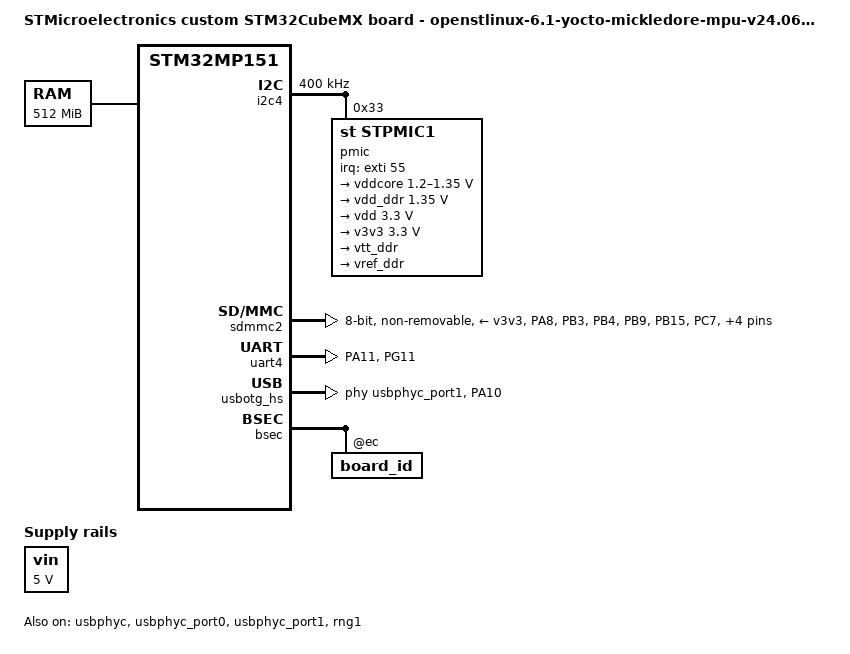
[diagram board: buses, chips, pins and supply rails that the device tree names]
// SPDX-License-Identifier: (GPL-2.0-or-later OR BSD-3-Clause)
/*
 * Copyright (C) 2024, STMicroelectronics - All Rights Reserved
 * Author: STM32CubeMX code generation for STMicroelectronics.
 */

/* For more information on Device Tree configuration, please refer to
 * https://wiki.st.com/stm32mpu/wiki/Category:Device_tree_configuration
 */

/dts-v1/;

#include <dt-bindings/pinctrl/stm32-pinfunc.h>
#include <dt-bindings/clock/stm32mp1-clksrc.h>
#include "stm32mp15-mx.dtsi"

#include "stm32mp151.dtsi"
#include "stm32mp15xa.dtsi"
#include "stm32mp15xxac-pinctrl.dtsi"
#include "stm32mp15-ddr.dtsi"

/* USER CODE BEGIN includes */
#include "stm32mp15-pinctrl.dtsi"
/* USER CODE END includes */

/*TFA*/

/ {
	model = "STMicroelectronics custom STM32CubeMX board - openstlinux-6.1-yocto-mickledore-mpu-v24.06.26";
	compatible = "st,stm32mp151a-ap31085500a-mx", "st,stm32mp151";

	memory@c0000000 {
		device_type = "memory";
		reg = <0xc0000000 0x20000000>;

		/* USER CODE BEGIN memory */
		/* USER CODE END memory */
	};

	reserved-memory {
		#address-cells = <1>;
		#size-cells = <1>;
		ranges;

		/* USER CODE BEGIN reserved-memory */
		mcusram1:mcuram@10000000{
			compatible = "shared-dma-pool";
			reg = <0x10000000 0x20000>;
			no-map;
		};

		mcusram2:mcuram@10020000{
			compatible = "shared-dma-pool";
			reg = <0x10020000 0x20000>;
			no-map;
		};

		mcusram3:mcuram@10040000{
			compatible = "shared-dma-pool";
			reg = <0x10040000 0x10000>;
			no-map;
		};

		retram:retram@38000000{
			compatible = "shared-dma-pool";
			reg = <0x38000000 0x10000>;
			no-map;
		};
		
  	optee_core@de000000 {
  		reg = <0xde000000 0x02000000>;   // 32 MB secure DDR
  		no-map;
  	};
  
  	optee_shm@dfc00000 {
  		reg = <0xdfc00000 0x00400000>;   // 4 MB SHM (o 2 MB)
  		no-map;
  	};
  
      
		/* USER CODE END reserved-memory */
	};
	/* USER CODE BEGIN root */
	
	aliases {
		serial0 = &uart4;
	};

	chosen {
		stdout-path = "serial0:115200n8";
	};
	
	vin: vin {
		compatible = "regulator-fixed";
		regulator-name = "vin";
		regulator-min-microvolt = <5000000>;
		regulator-max-microvolt = <5000000>;
		regulator-always-on;
	};
	/* USER CODE END root */

	clocks {
		/* USER CODE BEGIN clocks */
		/* USER CODE END clocks */

		clk_hsi: clk-hsi {
			clock-frequency = <64000000>;

			/* USER CODE BEGIN clk_hsi */
			/* USER CODE END clk_hsi */
		};
		clk_lse: clk-lse {
			clock-frequency = <32768>;
			st,drive = < LSEDRV_MEDIUM_HIGH >;

			/* USER CODE BEGIN clk_lse */
			/* USER CODE END clk_lse */
		};
		clk_hse: clk-hse {
			clock-frequency = <24000000>;
			st,digbypass;

			/* USER CODE BEGIN clk_hse */
			/* USER CODE END clk_hse */
		};
	};

}; /*root*/

&pinctrl {
	i2c4_pins_mx: i2c4_mx-0 {
		pins {
			pinmux = <STM32_PINMUX('F', 14, AF4)>, /* I2C4_SCL */
					 <STM32_PINMUX('F', 15, AF4)>; /* I2C4_SDA */
			bias-disable;
			drive-open-drain;
			slew-rate = <0>;
		};
	};

	sdmmc2_pins_mx: sdmmc2_mx-0 {
		pins1 {
			pinmux = <STM32_PINMUX('A', 8, AF9)>, /* SDMMC2_D4 */
					 <STM32_PINMUX('B', 3, AF9)>, /* SDMMC2_D2 */
					 <STM32_PINMUX('B', 4, AF9)>, /* SDMMC2_D3 */
					 <STM32_PINMUX('B', 9, AF10)>, /* SDMMC2_D5 */
					 <STM32_PINMUX('B', 15, AF9)>, /* SDMMC2_D1 */
					 <STM32_PINMUX('C', 7, AF10)>, /* SDMMC2_D7 */
					 <STM32_PINMUX('E', 5, AF9)>; /* SDMMC2_D6 */
			bias-disable;
			drive-push-pull;
			slew-rate = <1>;
		};
		pins2 {
			pinmux = <STM32_PINMUX('B', 14, AF9)>, /* SDMMC2_D0 */
					 <STM32_PINMUX('E', 3, AF9)>, /* SDMMC2_CK */
					 <STM32_PINMUX('G', 6, AF10)>; /* SDMMC2_CMD */
			bias-pull-up;
			drive-push-pull;
			slew-rate = <1>;
		};
	};

	uart4_pins_mx: uart4_mx-0 {
		pins1 {
			pinmux = <STM32_PINMUX('A', 11, AF6)>; /* UART4_RX */
			bias-pull-up;
		};
		pins2 {
			pinmux = <STM32_PINMUX('G', 11, AF6)>; /* UART4_TX */
			bias-pull-up;
			drive-push-pull;
			slew-rate = <0>;
		};
	};

	usb_otg_hs_pins_mx: usb_otg_hs_mx-0 {
		pins {
			pinmux = <STM32_PINMUX('A', 10, ANALOG)>; /* USB_OTG_HS_ID */
		};
	};

	/* USER CODE BEGIN pinctrl */
	/* USER CODE END pinctrl */
};


&pinctrl_z {
	/* USER CODE BEGIN pinctrl_z */
	/* USER CODE END pinctrl_z */
};

&i2c4{
	pinctrl-names = "default";
	pinctrl-0 = <&i2c4_pins_a>;
	status = "okay";

	/* USER CODE BEGIN i2c4 */
	i2c-scl-rising-time-ns = <185>;
	i2c-scl-falling-time-ns = <20>;
	clock-frequency = <400000>;

	pmic: stpmic@33 {
	compatible = "st,stpmic1";
	reg = <0x33>;
	/* interrupts-extended = <&exti_pwr 55 IRQ_TYPE_EDGE_FALLING>;*/
	interrupts-extended = <&exti 55 IRQ_TYPE_EDGE_FALLING>;
	interrupt-controller;
	#interrupt-cells = <2>;
	status = "okay";

		regulators {
			compatible = "st,stpmic1-regulators";
			
			buck1-supply = <&vin>;
			buck2-supply = <&vin>;
			buck3-supply = <&vin>;
			buck4-supply = <&vin>;
			ldo2-supply  = <&vin>;
			ldo3-supply  = <&vdd>;         /* VTT_DDR must be fed from BUCK3 */
			ldo4-supply  = <&vin>;
			ldo5-supply  = <&vin>;
			ldo6-supply  = <&v3v3>;
			vref_ddr-supply = <&vdd_ddr>;  /* VREF must follow VDD_DDR */

			vddcore: buck1 {
				regulator-name = "vddcore";
				regulator-min-microvolt = <1200000>;
				regulator-max-microvolt = <1350000>;
				regulator-always-on;
				regulator-initial-mode = <0>;
				regulator-over-current-protection;

				lp-stop {
					regulator-on-in-suspend;
				};
			};

			vdd_ddr: buck2 {
				regulator-name = "vdd_ddr";
				regulator-min-microvolt = <1350000>;
				regulator-max-microvolt = <1350000>;
				regulator-always-on;
				regulator-initial-mode = <0>;
				regulator-over-current-protection;

				lp-stop {
					regulator-on-in-suspend;
				};
			};

			vdd: buck3 {
				regulator-name = "vdd";
				regulator-min-microvolt = <3300000>;
				regulator-max-microvolt = <3300000>;
				regulator-always-on;
				st,mask-reset;
				regulator-initial-mode = <0>;
				regulator-over-current-protection;
				lp-stop {
					regulator-on-in-suspend;
				};
			};

			v3v3: buck4 {
				regulator-name = "v3v3";
				regulator-min-microvolt = <3300000>;
				regulator-max-microvolt = <3300000>;
				regulator-always-on;
				regulator-over-current-protection;
				regulator-initial-mode = <0>;

				lp-stop {
					regulator-on-in-suspend;
				};
			};

			/*
			v1v8_audio: ldo1 {
				regulator-name = "v1v8_audio";
				regulator-min-microvolt = <1800000>;
				regulator-max-microvolt = <1800000>;
				regulator-always-on;
				interrupts = <IT_CURLIM_LDO1 0>;
			};
			*/
			vtt_ddr: ldo3 {
				regulator-name = "vtt_ddr";
				regulator-always-on;
				st,regulator-sink-source;
				/*
				NOT WORKING IN TFA
				regulator-min-microvolt = <500000>;
				regulator-max-microvolt = <750000>;
				*/
				/* nessuna gestione di suspend: resta sempre on */
			};
			

			vref_ddr: vref_ddr {
				regulator-name = "vref_ddr";
				regulator-always-on;

				lp-stop {
					regulator-on-in-suspend;
				};
			};

			/*
			bst_out: boost {
				regulator-name = "bst_out";
				interrupts = <IT_OCP_BOOST 0>;
			};

			vbus_otg: pwr_sw1 {
				regulator-name = "vbus_otg";
				interrupts = <IT_OCP_OTG 0>;
			};

			vbus_sw: pwr_sw2 {
				regulator-name = "vbus_sw";
				interrupts = <IT_OCP_SWOUT 0>;
				regulator-active-discharge = <1>;
			};
			*/
		};
	};

	/* USER CODE END i2c4 */
};

&rcc{
	status = "okay";

	/* USER CODE BEGIN rcc */
	/* CLK_CKPER_DISABLED -> CLK_CKPER_HSE */
	/* USER CODE END rcc */

	st,clksrc = <
		CLK_CKPER_HSE
		CLK_SDMMC12_PLL4P
		CLK_STGEN_HSE
		CLK_I2C46_HSI
		CLK_USBO_USBPHY
		CLK_UART24_HSI
		CLK_MPU_PLL1P
		CLK_AXI_PLL2P
		CLK_MCU_PLL3P
	>;
	st,clkdiv = <
		DIV(DIV_MPU, 1)
		DIV(DIV_AXI, 0)
		DIV(DIV_MCU, 0)
		DIV(DIV_APB1, 1)
		DIV(DIV_APB2, 1)
		DIV(DIV_APB3, 1)
		DIV(DIV_APB4, 1)
		DIV(DIV_APB5, 2)
		DIV(DIV_RTC, 0)
		DIV(DIV_MCO1, 0)
		DIV(DIV_MCO2, 0)
	>;
	st,pll_vco {
		pll1_vco_1300Mhz: pll1-vco-1300Mhz {
			src = < CLK_PLL12_HSE >;
			divmn = < 2 80 >;
			frac = < 0x800 >;
		};
		pll2_vco_1066Mhz: pll2-vco-1066Mhz {
			src = < CLK_PLL12_HSE >;
			divmn = < 2 65 >;
			frac = < 0x1400 >;
		};
		pll3_vco_417Mhz: pll3-vco-417Mhz {
			src = < CLK_PLL3_HSE >;
			divmn = < 1 33 >;
			frac = < 0x1a04 >;
		};
		pll4_vco_594Mhz: pll4-vco-594Mhz {
			src = < CLK_PLL4_HSE >;
			divmn = < 3 98 >;
		};
		/* USER CODE BEGIN rcc_st-pll_vco */
		/* USER CODE END rcc_st-pll_vco */
	};

	pll1:st,pll@0 {
		compatible = "st,stm32mp1-pll";
		reg = <0>;

		st,pll = < &pll1_cfg1 >;

		pll1_cfg1: pll1_cfg1 {
			st,pll_vco = < &pll1_vco_1300Mhz >;
			st,pll_div_pqr = < 0 1 1 >;
		};
		/* USER CODE BEGIN pll1 */
		/* USER CODE END pll1 */
	};

	pll2:st,pll@1 {
		compatible = "st,stm32mp1-pll";
		reg = <1>;

		st,pll = < &pll2_cfg1 >;

		pll2_cfg1: pll2_cfg1 {
			st,pll_vco = < &pll2_vco_1066Mhz >;
			st,pll_div_pqr = < 1 1 0 >;
		};
		/* USER CODE BEGIN pll2 */
		/* USER CODE END pll2 */
	};

	pll3:st,pll@2 {
		compatible = "st,stm32mp1-pll";
		reg = <2>;

		st,pll = < &pll3_cfg1 >;

		pll3_cfg1: pll3_cfg1 {
			st,pll_vco = < &pll3_vco_417Mhz >;
			st,pll_div_pqr = < 1 16 36 >;
		};
		/* USER CODE BEGIN pll3 */
		/* USER CODE END pll3 */
	};

	pll4:st,pll@3 {
		compatible = "st,stm32mp1-pll";
		reg = <3>;

		st,pll = < &pll4_cfg1 >;

		pll4_cfg1: pll4_cfg1 {
			st,pll_vco = < &pll4_vco_594Mhz >;
			st,pll_div_pqr = < 59 7 7 >;
		};
		/* USER CODE BEGIN pll4 */
		/* USER CODE END pll4 */
	};

};

&sdmmc2{
	pinctrl-names = "default";
	pinctrl-0 = <&sdmmc2_pins_mx>;
	status = "okay";

	/* USER CODE BEGIN sdmmc2 */
	non-removable;
	no-sd;
	no-sdio;
	st,neg-edge;
	bus-width = <8>;
	vmmc-supply = <&v3v3>;
	vqmmc-supply = <&vdd>;
	mmc-ddr-3_3v;
	/* USER CODE END sdmmc2 */
};

&uart4{
	pinctrl-names = "default";
	pinctrl-0 = <&uart4_pins_mx>;
	status = "okay";

	/* USER CODE BEGIN uart4 */
	/* USER CODE END uart4 */
};

&usbotg_hs{
	pinctrl-names = "default";
	pinctrl-0 = <&usb_otg_hs_pins_mx>;
	status = "okay";

	/* USER CODE BEGIN usbotg_hs */
	phys = <&usbphyc_port1 0>;
	phy-names = "usb2-phy";
	usb-role-switch;
	/* USER CODE END usbotg_hs */
};

&usbphyc{
	status = "okay";

	/* USER CODE BEGIN usbphyc */
	/* USER CODE END usbphyc */
};

&usbphyc_port0{
	status = "okay";

	/* USER CODE BEGIN usbphyc_port0 */
	/* USER CODE END usbphyc_port0 */
};

&usbphyc_port1{
	status = "okay";

	/* USER CODE BEGIN usbphyc_port1 */
	/* USER CODE END usbphyc_port1 */
};

/* USER CODE BEGIN addons */
&bsec {
	board_id: board_id@ec {
		reg = <0xec 0x4>;
		st,non-secure-otp;
	};
};

&clk_hse {
	st,digbypass;
};

&cpu0 {
	cpu-supply = <&vddcore>;
};

&pwr_regulators{
	vdd-supply = <&vdd>;
};

&ddr
{
    vdd-supply = <&vdd_ddr>;
    vtt-supply = <&vtt_ddr>;
    vref-supply = <&vref_ddr>;
};

&rng1 {
        status = "okay";
        secure-status = "okay";
};

/* USER CODE END addons */

